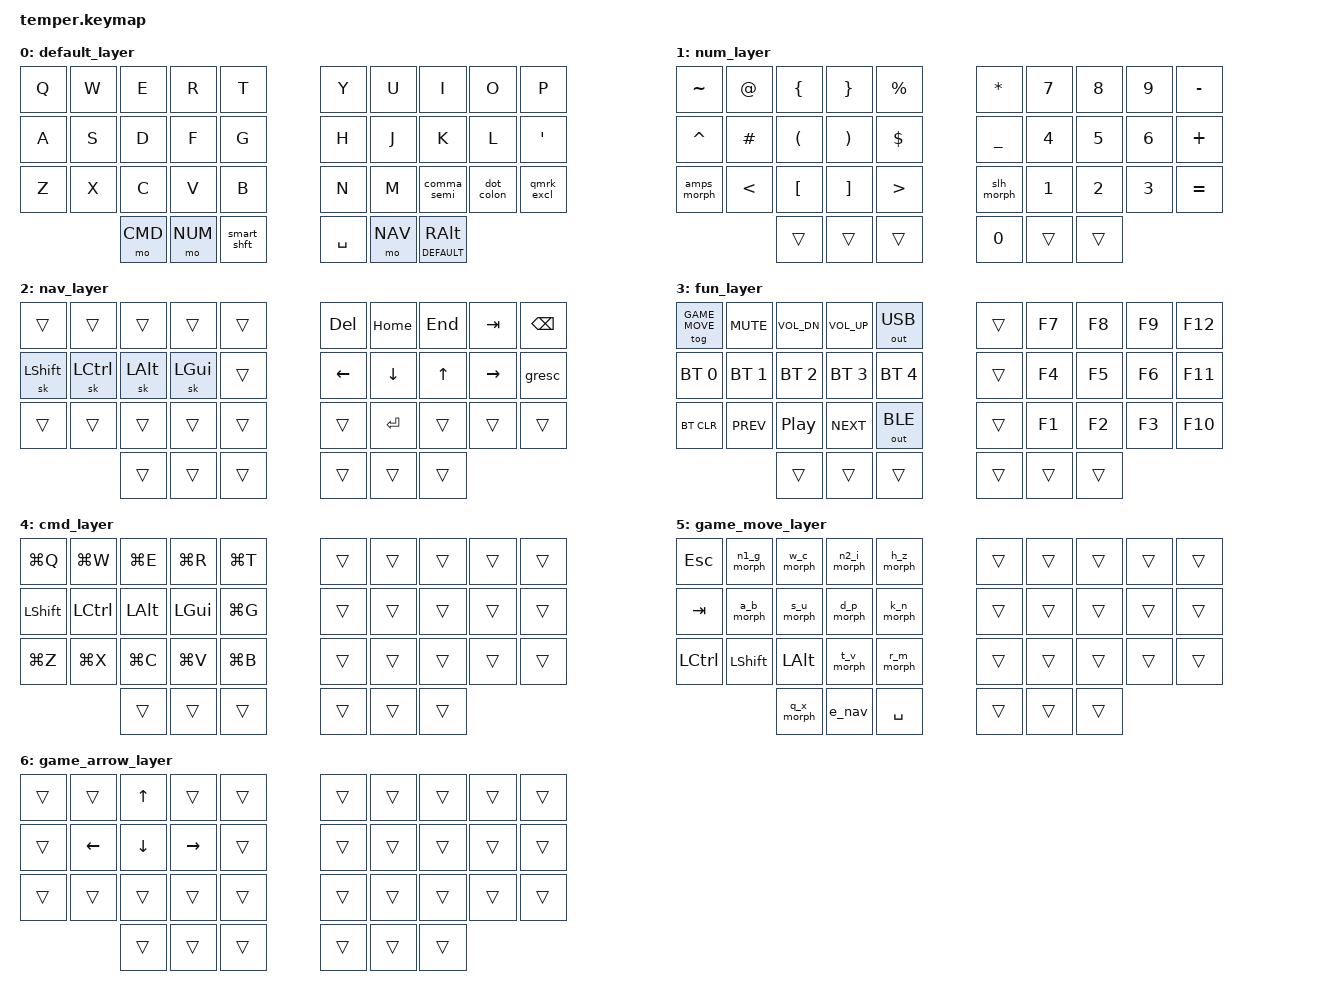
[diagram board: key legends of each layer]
/*
 * Copyright (c) 2020 The ZMK Contributors
 *
 * SPDX-License-Identifier: MIT
 */

#include <behaviors.dtsi>
#include <dt-bindings/zmk/keys.h>
#include <dt-bindings/zmk/bt.h>
#include <dt-bindings/zmk/outputs.h>

#define DEFAULT   0
#define NUM       1
#define NAV       2
#define FUN       3
#define CMD       4
#define GAME_MOVE 5
#define GAME_ARROW 6

# define ______ &trans

/ {
    conditional_layers {
        compatible = "zmk,conditional-layers";
        tri_layer {
            if-layers = <NUM NAV>;
            then-layer = <FUN>;
        };
    };
    behaviors {
        bspc_del: backspace_delete {
            compatible = "zmk,behavior-mod-morph";
            #binding-cells = <0>;
            bindings = <&kp BACKSPACE>, <&kp DELETE>;
            mods = <(MOD_LSFT|MOD_RSFT)>;
            keep-mods = <(MOD_RSFT)>;
        };
        super_bspc: super_backspace {
            compatible = "zmk,behavior-mod-morph";
            #binding-cells = <0>;
            bindings = <&kp BACKSPACE>, <&kp LA(BACKSPACE)>;
            mods = <(MOD_LSFT|MOD_RSFT)>;
        };
        smart_shft: smart_shift {
            compatible = "zmk,behavior-mod-morph";
            #binding-cells = <0>;
            bindings = <&kp LSHFT>, <&caps_word>;
            mods = <(MOD_LSFT)>;
        };
        comma_semi: comma_semi {
            compatible = "zmk,behavior-mod-morph";
            #binding-cells = <0>;
            bindings = <&kp COMMA>, <&kp SEMI>;
            mods = <(MOD_LSFT)>;
        };
        dot_colon: dot_colon {
            compatible = "zmk,behavior-mod-morph";
            #binding-cells = <0>;
            bindings = <&kp DOT>, <&kp COLON>;
            mods = <(MOD_LSFT)>;
        };
        qmrk_excl: qmrk_excl {
            compatible = "zmk,behavior-mod-morph";
            #binding-cells = <0>;
            bindings = <&kp QMARK>, <&kp EXCL>;
            mods = <(MOD_LSFT)>;
        };
        slh_morph: slh_morph {
            compatible = "zmk,behavior-mod-morph";
            #binding-cells = <0>;
            bindings = <&kp FSLH>, <&kp BSLH>;
            mods = <(MOD_LSFT)>;
        };
        amps_morph: amps_morph {
            compatible = "zmk,behavior-mod-morph";
            #binding-cells = <0>;
            bindings = <&kp AMPS>, <&kp PIPE>;
            mods = <(MOD_LSFT)>;
        };
        w_c_morph: w_c_morph {
            compatible = "zmk,behavior-mod-morph";
            #binding-cells = <0>;
            bindings = <&kp W>, <&kp C>;
            mods = <(MOD_LCTL)>;
        };
        e_nav: e_nav {
            compatible = "zmk,behavior-mod-morph";
            #binding-cells = <0>;
            bindings = <&kp E>, <&mo GAME_ARROW>;
            mods = <(MOD_LCTL)>;
        };
        n1_g_morph: n1_g_morph {
            compatible = "zmk,behavior-mod-morph";
            #binding-cells = <0>;
            bindings = <&kp N1>, <&kp G>;
            mods = <(MOD_LCTL)>;
        };
        n2_i_morph: n2_i_morph {
            compatible = "zmk,behavior-mod-morph";
            #binding-cells = <0>;
            bindings = <&kp N2>, <&kp I>;
            mods = <(MOD_LCTL)>;
        };
        h_z_morph: h_z_morph {
            compatible = "zmk,behavior-mod-morph";
            #binding-cells = <0>;
            bindings = <&kp H>, <&kp Z>;
            mods = <(MOD_LCTL)>;
        };
        a_b_morph: a_b_morph {
            compatible = "zmk,behavior-mod-morph";
            #binding-cells = <0>;
            bindings = <&kp A>, <&kp B>;
            mods = <(MOD_LCTL)>;
        };
        s_u_morph: s_u_morph {
            compatible = "zmk,behavior-mod-morph";
            #binding-cells = <0>;
            bindings = <&kp S>, <&kp U>;
            mods = <(MOD_LCTL)>;
        };
        d_p_morph: d_p_morph {
            compatible = "zmk,behavior-mod-morph";
            #binding-cells = <0>;
            bindings = <&kp D>, <&kp P>;
            mods = <(MOD_LCTL)>;
        };
        k_n_morph: k_n_morph {
            compatible = "zmk,behavior-mod-morph";
            #binding-cells = <0>;
            bindings = <&kp K>, <&kp N>;
            mods = <(MOD_LCTL)>;
        };
        t_v_morph: t_v_morph {
            compatible = "zmk,behavior-mod-morph";
            #binding-cells = <0>;
            bindings = <&kp T>, <&kp V>;
            mods = <(MOD_LCTL)>;
        };
        r_m_morph: r_m_morph {
            compatible = "zmk,behavior-mod-morph";
            #binding-cells = <0>;
            bindings = <&kp R>, <&kp M>;
            mods = <(MOD_LCTL)>;
        };
        q_x_morph: q_x_morph {
            compatible = "zmk,behavior-mod-morph";
            #binding-cells = <0>;
            bindings = <&kp Q>, <&kp X>;
            mods = <(MOD_LCTL)>;
        };
        altgr_def: altgr_default {
            compatible = "zmk,behavior-hold-tap";
            #binding-cells = <2>;
            flavor = "tap-preferred";
            tapping-term-ms = <250>;
            bindings = <&to>, <&sk>;
        };
    };
        keymap {
                compatible = "zmk,keymap";

                default_layer {
                        bindings = <
// ╭─────────────┬─────────────┬─────────────┬─────────────┬─────────────╮   ╭─────────────┬─────────────┬─────────────┬─────────────┬─────────────╮
        &kp Q         &kp W         &kp E         &kp R         &kp T             &kp Y         &kp U         &kp I         &kp O         &kp P
// ├─────────────┼─────────────┼─────────────┼─────────────┼─────────────┤   ├─────────────┼─────────────┼─────────────┼─────────────┼─────────────┤
        &kp A         &kp S         &kp D         &kp F         &kp G             &kp H         &kp J         &kp K         &kp L       &kp APOS
// ├─────────────┼─────────────┼─────────────┼─────────────┼─────────────┤   ├─────────────┼─────────────┼─────────────┼─────────────┼─────────────┤
        &kp Z         &kp X         &kp C         &kp V         &kp B             &kp N         &kp M      &comma_semi    &dot_colon    &qmrk_excl
// ╰─────────────┴─────────────┼─────────────┼─────────────┼─────────────┤   ├─────────────┼─────────────┼─────────────┼─────────────┴─────────────╯
                                   &mo CMD       &mo NUM     &smart_shft        &kp SPACE      &mo NAV  &altgr_def DEFAULT RALT
//                             ╰─────────────┴─────────────┴─────────────╯   ╰─────────────┴─────────────┴─────────────╯
                        >;
                };
                num_layer {
                        bindings = <
// ╭─────────────┬─────────────┬─────────────┬─────────────┬─────────────╮   ╭─────────────┬─────────────┬─────────────┬─────────────┬─────────────╮
      &kp TILDE       &kp AT       &kp LBRC      &kp RBRC     &kp PRCNT          &kp STAR       &kp N7        &kp N8        &kp N9      &kp MINUS
// ├─────────────┼─────────────┼─────────────┼─────────────┼─────────────┤   ├─────────────┼─────────────┼─────────────┼─────────────┼─────────────┤
      &kp CARET      &kp HASH      &kp LPAR      &kp RPAR      &kp DLLR         &kp UNDER       &kp N4        &kp N5        &kp N6      &kp PLUS
// ├─────────────┼─────────────┼─────────────┼─────────────┼─────────────┤   ├─────────────┼─────────────┼─────────────┼─────────────┼─────────────┤
      &amps_morph     &kp LT       &kp LBKT      &kp RBKT       &kp GT          &slh_morph      &kp N1        &kp N2        &kp N3      &kp EQUAL
// ╰─────────────┴─────────────┼─────────────┼─────────────┼─────────────┤   ├─────────────┼─────────────┼─────────────┼─────────────┴─────────────╯
                                    ______        ______        ______            &kp N0        ______        ______
//                             ╰─────────────┴─────────────┴─────────────╯   ╰─────────────┴─────────────┴─────────────╯
                        >;
                };

                nav_layer {
                        bindings = <
// ╭─────────────┬─────────────┬─────────────┬─────────────┬─────────────╮   ╭─────────────┬─────────────┬─────────────┬─────────────┬─────────────╮
        ______        ______        ______        ______        ______           &kp DEL       &kp HOME      &kp END       &kp TAB       &kp BSPC
// ├─────────────┼─────────────┼─────────────┼─────────────┼─────────────┤   ├─────────────┼─────────────┼─────────────┼─────────────┼─────────────┤
      &sk LSHFT     &sk LCTRL      &sk LALT      &sk LGUI       ______           &kp LEFT      &kp DOWN       &kp UP      &kp RIGHT       &gresc
// ├─────────────┼─────────────┼─────────────┼─────────────┼─────────────┤   ├─────────────┼─────────────┼─────────────┼─────────────┼─────────────┤
        ______        ______        ______        ______        ______            ______        &kp RET       ______        ______        ______
// ╰─────────────┴─────────────┼─────────────┼─────────────┼─────────────┤   ├─────────────┼─────────────┼─────────────┼─────────────┴─────────────╯
                                    ______        ______        ______            ______        ______        ______
//                             ╰─────────────┴─────────────┴─────────────╯   ╰─────────────┴─────────────┴─────────────╯
                        >;
                };

                fun_layer {
                        bindings = <
// ╭─────────────┬─────────────┬─────────────┬─────────────┬─────────────╮   ╭─────────────┬─────────────┬─────────────┬─────────────┬─────────────╮
    &tog GAME_MOVE  &kp K_MUTE    &kp C_VOL_DN  &kp C_VOL_UP  &out OUT_USB        ______        &kp F7        &kp F8        &kp F9       &kp F12
// ├─────────────┼─────────────┼─────────────┼─────────────┼─────────────┤   ├─────────────┼─────────────┼─────────────┼─────────────┼─────────────┤
     &bt BT_SEL 0  &bt BT_SEL 1  &bt BT_SEL 2  &bt BT_SEL 3  &bt BT_SEL 4         ______        &kp F4        &kp F5        &kp F6       &kp F11
// ├─────────────┼─────────────┼─────────────┼─────────────┼─────────────┤   ├─────────────┼─────────────┼─────────────┼─────────────┼─────────────┤
      &bt BT_CLR    &kp C_PREV     &kp C_PP     &kp C_NEXT   &out OUT_BLE         ______        &kp F1        &kp F2        &kp F3       &kp F10
// ╰─────────────┴─────────────┼─────────────┼─────────────┼─────────────┤   ├─────────────┼─────────────┼─────────────┼─────────────┴─────────────╯
                                    ______        ______        ______            ______        ______        ______
//                             ╰─────────────┴─────────────┴─────────────╯   ╰─────────────┴─────────────┴─────────────╯
                        >;
                };

                cmd_layer {
                        bindings = <
// ╭─────────────┬─────────────┬─────────────┬─────────────┬─────────────╮   ╭─────────────┬─────────────┬─────────────┬─────────────┬─────────────╮
       &kp LG(Q)    &kp LG(W)     &kp LG(E)     &kp LG(R)     &kp LG(T)           ______        ______        ______        ______        ______
// ├─────────────┼─────────────┼─────────────┼─────────────┼─────────────┤   ├─────────────┼─────────────┼─────────────┼─────────────┼─────────────┤
       &kp LSHFT    &kp LCTRL     &kp LALT      &kp LGUI      &kp LG(G)           ______        ______        ______        ______        ______
// ├─────────────┼─────────────┼─────────────┼─────────────┼─────────────┤   ├─────────────┼─────────────┼─────────────┼─────────────┼─────────────┤
       &kp LG(Z)    &kp LG(X)     &kp LG(C)     &kp LG(V)     &kp LG(B)           ______        ______        ______        ______        ______
// ╰─────────────┴─────────────┼─────────────┼─────────────┼─────────────┤   ├─────────────┼─────────────┼─────────────┼─────────────┴─────────────╯
                                    ______        ______        ______            ______        ______        ______
//                             ╰─────────────┴─────────────┴─────────────╯   ╰─────────────┴─────────────┴─────────────╯
                        >;
                };

                game_move_layer {
                        bindings = <
// ╭─────────────┬─────────────┬─────────────┬─────────────┬─────────────╮   ╭─────────────┬─────────────┬─────────────┬─────────────┬─────────────╮
        &kp ESC      &n1_g_morph   &w_c_morph   &n2_i_morph   &h_z_morph         ______        ______        ______        ______        ______
// ├─────────────┼─────────────┼─────────────┼─────────────┼─────────────┤   ├─────────────┼─────────────┼─────────────┼─────────────┼─────────────┤
        &kp TAB      &a_b_morph    &s_u_morph    &d_p_morph    &k_n_morph         ______        ______        ______        ______        ______
// ├─────────────┼─────────────┼─────────────┼─────────────┼─────────────┤   ├─────────────┼─────────────┼─────────────┼─────────────┼─────────────┤
      &kp LCTRL     &kp LSHFT     &kp LALT      &t_v_morph    &r_m_morph         ______        ______        ______        ______        ______
// ╰─────────────┴─────────────┼─────────────┼─────────────┼─────────────┤   ├─────────────┼─────────────┼─────────────┼─────────────┴─────────────╯
                                   &q_x_morph    &e_nav       &kp SPACE           ______        ______        ______
//                             ╰─────────────┴─────────────┴─────────────╯   ╰─────────────┴─────────────┴─────────────╯
                        >;
                };

                game_arrow_layer {
                        bindings = <
// ╭─────────────┬─────────────┬─────────────┬─────────────┬─────────────╮   ╭─────────────┬─────────────┬─────────────┬─────────────┬─────────────╮
        ______        ______        &kp UP        ______        ______            ______        ______        ______        ______        ______
// ├─────────────┼─────────────┼─────────────┼─────────────┼─────────────┤   ├─────────────┼─────────────┼─────────────┼─────────────┼─────────────┤
        ______      &kp LEFT      &kp DOWN     &kp RIGHT       ______             ______        ______        ______        ______        ______
// ├─────────────┼─────────────┼─────────────┼─────────────┼─────────────┤   ├─────────────┼─────────────┼─────────────┼─────────────┼─────────────┤
        ______        ______        ______        ______        ______            ______        ______        ______        ______        ______
// ╰─────────────┴─────────────┼─────────────┼─────────────┼─────────────┤   ├─────────────┼─────────────┼─────────────┼─────────────┴─────────────╯
                                    ______        ______        ______            ______        ______        ______
//                             ╰─────────────┴─────────────┴─────────────╯   ╰─────────────┴─────────────┴─────────────╯
                        >;
                };

        };
};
